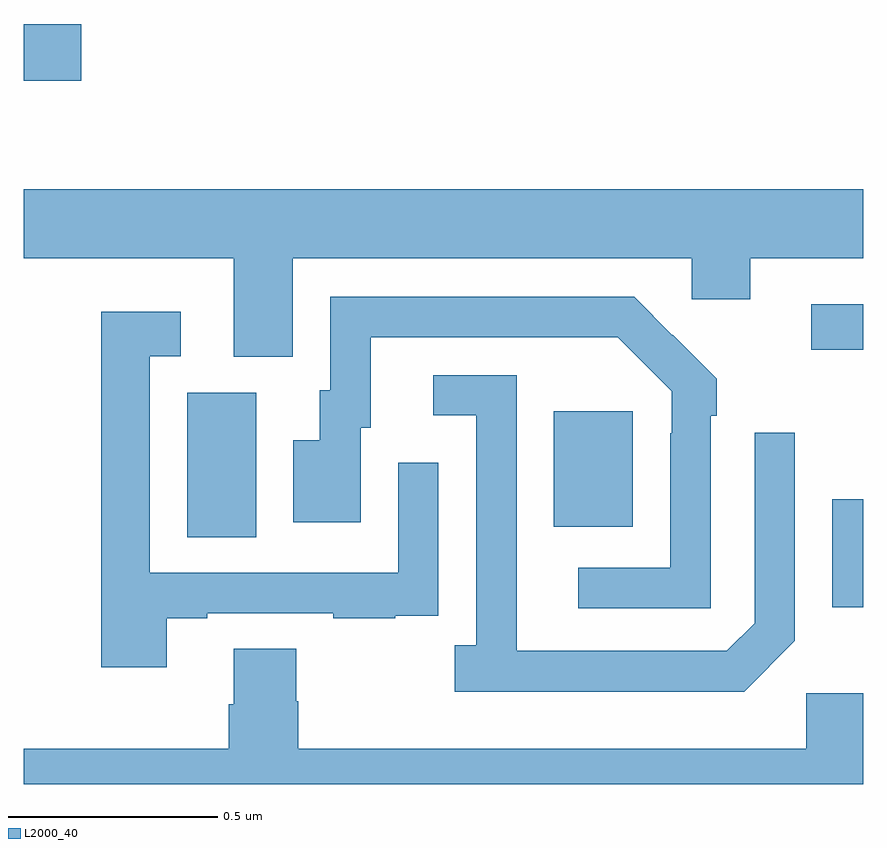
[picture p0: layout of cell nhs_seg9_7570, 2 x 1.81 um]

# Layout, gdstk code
import gdstk
lib = gdstk.Library(unit=1e-6, precision=1e-09)
def R(c, l, rs):  # rectangles x0, y0, x1, y1
    for r in rs: c.add(gdstk.rectangle(r[:2], r[2:], *l))
def P(c, l, *ps):  # polygons
    for p in ps: c.add(gdstk.Polygon(p, *l))
L2000_40 = (2000, 40)

nhs_seg9_7570 = lib.new_cell('nhs_seg9_7570')
R(nhs_seg9_7570, L2000_40, [(207.926,1196.921,208,1197.178), (206.39,1197.088,206.554,1197.432), (207.263,1197.113,207.451,1197.388), (207.876,1197.534,208,1197.642), (206,1198.175,206.137,1198.31)])
P(nhs_seg9_7570, L2000_40, [(206.641,1197.752),(207.591,1197.752),(207.591,1197.654),(207.73,1197.654),(207.73,1197.752),(208,1197.752),(208,1197.916),(206,1197.916),(206,1197.752),(206.501,1197.752),(206.501,1197.517),(206.641,1197.517)],
  [(207.636,1197.377),(207.651,1197.377),(207.651,1197.465),(207.546,1197.57),(207.545,1197.569),(207.454,1197.66),(206.73,1197.66),(206.73,1197.438),(206.705,1197.438),(206.705,1197.319),(206.642,1197.319),(206.642,1197.123),(206.803,1197.123),(206.803,1197.348),(206.827,1197.348),(206.827,1197.564),(207.415,1197.564),(207.543,1197.435),(207.543,1197.335),(207.54,1197.335),(207.54,1197.015),(207.321,1197.015),(207.321,1196.919),(207.636,1196.919)],
  [(206.341,1196.895),(206.437,1196.895),(206.437,1196.907),(206.737,1196.907),(206.737,1196.895),(206.885,1196.895),(206.885,1196.901),(206.987,1196.901),(206.987,1197.01),(206.988,1197.01),(206.988,1197.265),(206.892,1197.265),(206.892,1197.003),(206.301,1197.003),(206.301,1197.519),(206.374,1197.519),(206.374,1197.625),(206.185,1197.625),(206.185,1196.778),(206.341,1196.778)],
  [(207.837,1196.841),(207.837,1197.337),(207.741,1197.337),(207.741,1196.883),(207.675,1196.817),(207.175,1196.817),(207.175,1197.017),(207.174,1197.017),(207.174,1197.474),(206.976,1197.474),(206.976,1197.378),(207.078,1197.378),(207.078,1196.83),(207.027,1196.83),(207.027,1196.72),(207.716,1196.72)],
  [(208,1196.716),(207.864,1196.716),(207.864,1196.584),(206.654,1196.584),(206.654,1196.697),(206.649,1196.697),(206.649,1196.822),(206.501,1196.822),(206.501,1196.69),(206.489,1196.69),(206.489,1196.584),(206,1196.584),(206,1196.5),(208,1196.5)])

lib.write_gds('nhs_seg9_7570.gds')
